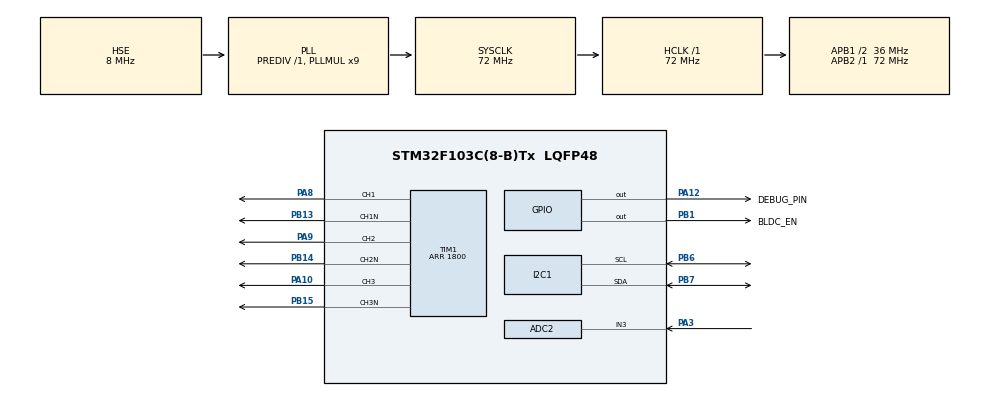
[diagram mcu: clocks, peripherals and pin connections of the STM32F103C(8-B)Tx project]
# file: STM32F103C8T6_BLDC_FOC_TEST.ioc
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ADC1.Channel-7\#ChannelInjectedConversion=ADC_CHANNEL_3
ADC1.EnableInjectedConversion=ENABLE
ADC1.EnableRegularConversion=DISABLE
ADC1.ExternalTrigInjecConv=ADC_EXTERNALTRIGINJECCONV_T1_CC4
ADC1.InjNumberOfConversion=1
ADC1.InjectedOffset-7\#ChannelInjectedConversion=0
ADC1.InjectedRank-7\#ChannelInjectedConversion=1
ADC1.Mode=ADC_DUALMODE_INJECSIMULT
ADC1.SamplingTime-7\#ChannelInjectedConversion=ADC_SAMPLETIME_13CYCLES_5
ADC1.master=1
ADC2.Channel-1\#ChannelInjectedConversion=ADC_CHANNEL_3
ADC2.EnableInjectedConversion=ENABLE
ADC2.EnableRegularConversion=DISABLE
ADC2.InjNumberOfConversion=1
ADC2.InjectedOffset-1\#ChannelInjectedConversion=0
ADC2.InjectedRank-1\#ChannelInjectedConversion=1
ADC2.Mode=ADC_DUALMODE_INJECSIMULT
ADC2.SamplingTime-1\#ChannelInjectedConversion=ADC_SAMPLETIME_13CYCLES_5
I2C1.I2C_Mode=I2C_Fast
Mcu.Family=STM32F1
Mcu.Name=STM32F103C(8-B)Tx
Mcu.Package=LQFP48
NVIC.ADC1_2_IRQn=true\:0\:0\:false\:false\:true\:true\:true\:true
NVIC.PriorityGroup=NVIC_PRIORITYGROUP_4
NVIC.TIM4_IRQn=true\:15\:0\:false\:false\:true\:false\:true\:true
NVIC.TimeBase=TIM4_IRQn
NVIC.TimeBaseIP=TIM4
PA10.Signal=S_TIM1_CH3
PA12.GPIO_Label=DEBUG_PIN
PA12.Signal=GPIO_Output
PA3.Signal=ADCx_IN3
PA8.Signal=S_TIM1_CH1
PA9.Signal=S_TIM1_CH2
PB1.GPIO_Label=BLDC_EN
PB1.Signal=GPIO_Output
PB13.Mode=PWM Generation1 CH1 CH1N
PB13.Signal=TIM1_CH1N
PB14.Mode=PWM Generation2 CH2 CH2N
PB14.Signal=TIM1_CH2N
PB15.Mode=PWM Generation3 CH3 CH3N
PB15.Signal=TIM1_CH3N
PB6.Mode=I2C
PB6.Signal=I2C1_SCL
PB7.Mode=I2C
PB7.Signal=I2C1_SDA
PD0-OSC_IN.Mode=HSE-External-Oscillator
PD0-OSC_IN.Signal=RCC_OSC_IN
PD1-OSC_OUT.Mode=HSE-External-Oscillator
PD1-OSC_OUT.Signal=RCC_OSC_OUT
ProjectManager.HeapSize=0x200
ProjectManager.StackSize=0x400
ProjectManager.TargetToolchain=STM32CubeIDE
RCC.ADCPresc=RCC_ADCPCLK2_DIV6
RCC.AHBFreq_Value=72000000
RCC.APB1CLKDivider=RCC_HCLK_DIV2
RCC.APB1Freq_Value=36000000
RCC.APB1TimFreq_Value=72000000
RCC.APB2Freq_Value=72000000
RCC.APB2TimFreq_Value=72000000
RCC.HCLKFreq_Value=72000000
RCC.PLLMUL=RCC_PLL_MUL9
RCC.PLLSourceVirtual=RCC_PLLSOURCE_HSE
RCC.SYSCLKFreq_VALUE=72000000
RCC.SYSCLKSource=RCC_SYSCLKSOURCE_PLLCLK
RCC.USBFreq_Value=72000000
SH.ADCx_IN3.0=ADC2_IN3,IN3
SH.ADCx_IN3.1=ADC1_IN3,IN3
SH.S_TIM1_CH1.0=TIM1_CH1,PWM Generation1 CH1 CH1N
SH.S_TIM1_CH2.0=TIM1_CH2,PWM Generation2 CH2 CH2N
SH.S_TIM1_CH3.0=TIM1_CH3,PWM Generation3 CH3 CH3N
TIM1.AutoReloadPreload=TIM_AUTORELOAD_PRELOAD_ENABLE
TIM1.BreakState=TIM_BREAK_DISABLE
TIM1.Channel-PWM\ Generation1\ CH1\ CH1N=TIM_CHANNEL_1
TIM1.Channel-PWM\ Generation2\ CH2\ CH2N=TIM_CHANNEL_2
TIM1.Channel-PWM\ Generation3\ CH3\ CH3N=TIM_CHANNEL_3
TIM1.Channel-PWM\ Generation4\ No\ Output=TIM_CHANNEL_4
TIM1.CounterMode=TIM_COUNTERMODE_CENTERALIGNED2
TIM1.DeadTime=40
TIM1.Period=1800
TIM1.TIM_MasterOutputTrigger=TIM_TRGO_UPDATE
VP_SYS_VS_ND.Mode=No_Debug
VP_SYS_VS_tim4.Mode=TIM4
VP_TIM1_VS_no_output4.Mode=PWM Generation4 No Output
board=custom

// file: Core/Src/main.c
/* USER CODE BEGIN Header */
/**
  ******************************************************************************
  * @file           : main.c
  * @brief          : Main program body
  ******************************************************************************
  * @attention
  *
  * Copyright (c) 2026 STMicroelectronics.
  * All rights reserved.
  *
  * This software is licensed under terms that can be found in the LICENSE file
  * in the root directory of this software component.
  * If no LICENSE file comes with this software, it is provided AS-IS.
  *
  ******************************************************************************
  */
/* USER CODE END Header */
#include "main.h"

ADC_HandleTypeDef hadc1;
ADC_HandleTypeDef hadc2;

I2C_HandleTypeDef hi2c1;

TIM_HandleTypeDef htim1;

void SystemClock_Config(void);
static void MX_GPIO_Init(void);
static void MX_ADC1_Init(void);
static void MX_I2C1_Init(void);
static void MX_TIM1_Init(void);
static void MX_ADC2_Init(void);

int main(void)
{

  /* MCU Configuration--------------------------------------------------------*/

  /* Reset of all peripherals, Initializes the Flash interface and the Systick. */
  HAL_Init();

  /* Configure the system clock */
  SystemClock_Config();

  /* Initialize all configured peripherals */
  MX_GPIO_Init();
  MX_ADC1_Init();
  MX_I2C1_Init();
  MX_TIM1_Init();
  MX_ADC2_Init();

  /* Infinite loop */
  /* USER CODE BEGIN WHILE */
  	HAL_GPIO_WritePin(DEBUG_PIN_GPIO_Port, DEBUG_PIN_Pin, GPIO_PIN_SET);

  	__HAL_TIM_SET_COMPARE(&htim1, TIM_CHANNEL_4, 900);

	HAL_TIM_PWM_Start(&htim1,TIM_CHANNEL_1);
	HAL_TIM_PWM_Start(&htim1,TIM_CHANNEL_2);
  	HAL_TIM_PWM_Start(&htim1,TIM_CHANNEL_3);
  	HAL_TIM_PWM_Start(&htim1,TIM_CHANNEL_4);

  	__HAL_TIM_MOE_ENABLE(&htim1);

  	HAL_ADCEx_InjectedStart_IT(&hadc1);
  	/* Infinite loop */

	while (1)
	{
		__HAL_TIM_SET_COMPARE(&htim1, TIM_CHANNEL_2, 220);
		__HAL_TIM_SET_COMPARE(&htim1, TIM_CHANNEL_3, 880);
		//__HAL_TIM_SET_COMPARE(&htim1, TIM_CHANNEL_4, 1700);

		HAL_Delay(10);
    /* USER CODE END WHILE */

	}
}

void SystemClock_Config(void)
{
  RCC_OscInitTypeDef RCC_OscInitStruct = {0};
  RCC_ClkInitTypeDef RCC_ClkInitStruct = {0};
  RCC_PeriphCLKInitTypeDef PeriphClkInit = {0};

  /** Initializes the RCC Oscillators according to the specified parameters
  * in the RCC_OscInitTypeDef structure.
  */
  RCC_OscInitStruct.OscillatorType = RCC_OSCILLATORTYPE_HSE;
  RCC_OscInitStruct.HSEState = RCC_HSE_ON;
  RCC_OscInitStruct.HSEPredivValue = RCC_HSE_PREDIV_DIV1;
  RCC_OscInitStruct.HSIState = RCC_HSI_ON;
  RCC_OscInitStruct.PLL.PLLState = RCC_PLL_ON;
  RCC_OscInitStruct.PLL.PLLSource = RCC_PLLSOURCE_HSE;
  RCC_OscInitStruct.PLL.PLLMUL = RCC_PLL_MUL9;
  if (HAL_RCC_OscConfig(&RCC_OscInitStruct) != HAL_OK)
  {
    Error_Handler();
  }

  /** Initializes the CPU, AHB and APB buses clocks
  */
  RCC_ClkInitStruct.ClockType = RCC_CLOCKTYPE_HCLK|RCC_CLOCKTYPE_SYSCLK
                              |RCC_CLOCKTYPE_PCLK1|RCC_CLOCKTYPE_PCLK2;
  RCC_ClkInitStruct.SYSCLKSource = RCC_SYSCLKSOURCE_PLLCLK;
  RCC_ClkInitStruct.AHBCLKDivider = RCC_SYSCLK_DIV1;
  RCC_ClkInitStruct.APB1CLKDivider = RCC_HCLK_DIV2;
  RCC_ClkInitStruct.APB2CLKDivider = RCC_HCLK_DIV1;

  if (HAL_RCC_ClockConfig(&RCC_ClkInitStruct, FLASH_LATENCY_2) != HAL_OK)
  {
    Error_Handler();
  }
  PeriphClkInit.PeriphClockSelection = RCC_PERIPHCLK_ADC;
  PeriphClkInit.AdcClockSelection = RCC_ADCPCLK2_DIV6;
  if (HAL_RCCEx_PeriphCLKConfig(&PeriphClkInit) != HAL_OK)
  {
    Error_Handler();
  }
}

static void MX_ADC1_Init(void)
{

  ADC_MultiModeTypeDef multimode = {0};
  ADC_InjectionConfTypeDef sConfigInjected = {0};

  /** Common config
  */
  hadc1.Instance = ADC1;
  hadc1.Init.ScanConvMode = ADC_SCAN_DISABLE;
  hadc1.Init.ContinuousConvMode = DISABLE;
  hadc1.Init.DiscontinuousConvMode = DISABLE;
  hadc1.Init.ExternalTrigConv = ADC_SOFTWARE_START;
  hadc1.Init.DataAlign = ADC_DATAALIGN_RIGHT;
  hadc1.Init.NbrOfConversion = 1;
  if (HAL_ADC_Init(&hadc1) != HAL_OK)
  {
    Error_Handler();
  }

  /** Configure the ADC multi-mode
  */
  multimode.Mode = ADC_DUALMODE_INJECSIMULT;
  if (HAL_ADCEx_MultiModeConfigChannel(&hadc1, &multimode) != HAL_OK)
  {
    Error_Handler();
  }

  /** Configure Injected Channel
  */
  sConfigInjected.InjectedChannel = ADC_CHANNEL_3;
  sConfigInjected.InjectedRank = ADC_INJECTED_RANK_1;
  sConfigInjected.InjectedNbrOfConversion = 1;
  sConfigInjected.InjectedSamplingTime = ADC_SAMPLETIME_13CYCLES_5;
  sConfigInjected.ExternalTrigInjecConv = ADC_EXTERNALTRIGINJECCONV_T1_CC4;
  sConfigInjected.AutoInjectedConv = DISABLE;
  sConfigInjected.InjectedDiscontinuousConvMode = DISABLE;
  sConfigInjected.InjectedOffset = 0;
  if (HAL_ADCEx_InjectedConfigChannel(&hadc1, &sConfigInjected) != HAL_OK)
  {
    Error_Handler();
  }

}

static void MX_ADC2_Init(void)
{

  ADC_InjectionConfTypeDef sConfigInjected = {0};

  /** Common config
  */
  hadc2.Instance = ADC2;
  hadc2.Init.ScanConvMode = ADC_SCAN_DISABLE;
  hadc2.Init.ContinuousConvMode = DISABLE;
  hadc2.Init.DiscontinuousConvMode = DISABLE;
  hadc2.Init.ExternalTrigConv = ADC_SOFTWARE_START;
  hadc2.Init.DataAlign = ADC_DATAALIGN_RIGHT;
  hadc2.Init.NbrOfConversion = 1;
  if (HAL_ADC_Init(&hadc2) != HAL_OK)
  {
    Error_Handler();
  }

  /** Configure Injected Channel
  */
  sConfigInjected.InjectedChannel = ADC_CHANNEL_3;
  sConfigInjected.InjectedRank = ADC_INJECTED_RANK_1;
  sConfigInjected.InjectedNbrOfConversion = 1;
  sConfigInjected.InjectedSamplingTime = ADC_SAMPLETIME_13CYCLES_5;
  sConfigInjected.AutoInjectedConv = DISABLE;
  sConfigInjected.InjectedDiscontinuousConvMode = DISABLE;
  sConfigInjected.InjectedOffset = 0;
  if (HAL_ADCEx_InjectedConfigChannel(&hadc2, &sConfigInjected) != HAL_OK)
  {
    Error_Handler();
  }

}

static void MX_I2C1_Init(void)
{

  hi2c1.Instance = I2C1;
  hi2c1.Init.ClockSpeed = 400000;
  hi2c1.Init.DutyCycle = I2C_DUTYCYCLE_2;
  hi2c1.Init.OwnAddress1 = 0;
  hi2c1.Init.AddressingMode = I2C_ADDRESSINGMODE_7BIT;
  hi2c1.Init.DualAddressMode = I2C_DUALADDRESS_DISABLE;
  hi2c1.Init.OwnAddress2 = 0;
  hi2c1.Init.GeneralCallMode = I2C_GENERALCALL_DISABLE;
  hi2c1.Init.NoStretchMode = I2C_NOSTRETCH_DISABLE;
  if (HAL_I2C_Init(&hi2c1) != HAL_OK)
  {
    Error_Handler();
  }

}

static void MX_TIM1_Init(void)
{

  TIM_MasterConfigTypeDef sMasterConfig = {0};
  TIM_OC_InitTypeDef sConfigOC = {0};
  TIM_BreakDeadTimeConfigTypeDef sBreakDeadTimeConfig = {0};

  htim1.Instance = TIM1;
  htim1.Init.Prescaler = 0;
  htim1.Init.CounterMode = TIM_COUNTERMODE_CENTERALIGNED2;
  htim1.Init.Period = 1800;
  htim1.Init.ClockDivision = TIM_CLOCKDIVISION_DIV1;
  htim1.Init.RepetitionCounter = 0;
  htim1.Init.AutoReloadPreload = TIM_AUTORELOAD_PRELOAD_ENABLE;
  if (HAL_TIM_PWM_Init(&htim1) != HAL_OK)
  {
    Error_Handler();
  }
  sMasterConfig.MasterOutputTrigger = TIM_TRGO_UPDATE;
  sMasterConfig.MasterSlaveMode = TIM_MASTERSLAVEMODE_DISABLE;
  if (HAL_TIMEx_MasterConfigSynchronization(&htim1, &sMasterConfig) != HAL_OK)
  {
    Error_Handler();
  }
  sConfigOC.OCMode = TIM_OCMODE_PWM1;
  sConfigOC.Pulse = 0;
  sConfigOC.OCPolarity = TIM_OCPOLARITY_HIGH;
  sConfigOC.OCNPolarity = TIM_OCNPOLARITY_HIGH;
  sConfigOC.OCFastMode = TIM_OCFAST_DISABLE;
  sConfigOC.OCIdleState = TIM_OCIDLESTATE_RESET;
  sConfigOC.OCNIdleState = TIM_OCNIDLESTATE_RESET;
  if (HAL_TIM_PWM_ConfigChannel(&htim1, &sConfigOC, TIM_CHANNEL_1) != HAL_OK)
  {
    Error_Handler();
  }
  if (HAL_TIM_PWM_ConfigChannel(&htim1, &sConfigOC, TIM_CHANNEL_2) != HAL_OK)
  {
    Error_Handler();
  }
  if (HAL_TIM_PWM_ConfigChannel(&htim1, &sConfigOC, TIM_CHANNEL_3) != HAL_OK)
  {
    Error_Handler();
  }
  if (HAL_TIM_PWM_ConfigChannel(&htim1, &sConfigOC, TIM_CHANNEL_4) != HAL_OK)
  {
    Error_Handler();
  }
  sBreakDeadTimeConfig.OffStateRunMode = TIM_OSSR_DISABLE;
  sBreakDeadTimeConfig.OffStateIDLEMode = TIM_OSSI_DISABLE;
  sBreakDeadTimeConfig.LockLevel = TIM_LOCKLEVEL_OFF;
  sBreakDeadTimeConfig.DeadTime = 40;
  sBreakDeadTimeConfig.BreakState = TIM_BREAK_DISABLE;
  sBreakDeadTimeConfig.BreakPolarity = TIM_BREAKPOLARITY_HIGH;
  sBreakDeadTimeConfig.AutomaticOutput = TIM_AUTOMATICOUTPUT_DISABLE;
  if (HAL_TIMEx_ConfigBreakDeadTime(&htim1, &sBreakDeadTimeConfig) != HAL_OK)
  {
    Error_Handler();
  }
  HAL_TIM_MspPostInit(&htim1);

}

static void MX_GPIO_Init(void)
{
  GPIO_InitTypeDef GPIO_InitStruct = {0};

  /* GPIO Ports Clock Enable */
  __HAL_RCC_GPIOD_CLK_ENABLE();
  __HAL_RCC_GPIOA_CLK_ENABLE();
  __HAL_RCC_GPIOB_CLK_ENABLE();

  /*Configure GPIO pin Output Level */
  HAL_GPIO_WritePin(BLDC_EN_GPIO_Port, BLDC_EN_Pin, GPIO_PIN_RESET);

  /*Configure GPIO pin Output Level */
  HAL_GPIO_WritePin(DEBUG_PIN_GPIO_Port, DEBUG_PIN_Pin, GPIO_PIN_RESET);

  /*Configure GPIO pin : BLDC_EN_Pin */
  GPIO_InitStruct.Pin = BLDC_EN_Pin;
  GPIO_InitStruct.Mode = GPIO_MODE_OUTPUT_PP;
  GPIO_InitStruct.Pull = GPIO_NOPULL;
  GPIO_InitStruct.Speed = GPIO_SPEED_FREQ_LOW;
  HAL_GPIO_Init(BLDC_EN_GPIO_Port, &GPIO_InitStruct);

  /*Configure GPIO pin : DEBUG_PIN_Pin */
  GPIO_InitStruct.Pin = DEBUG_PIN_Pin;
  GPIO_InitStruct.Mode = GPIO_MODE_OUTPUT_PP;
  GPIO_InitStruct.Pull = GPIO_NOPULL;
  GPIO_InitStruct.Speed = GPIO_SPEED_FREQ_LOW;
  HAL_GPIO_Init(DEBUG_PIN_GPIO_Port, &GPIO_InitStruct);

}

/* USER CODE BEGIN 4 */
void HAL_ADCEx_InjectedConvCpltCallback(ADC_HandleTypeDef *hadc)
{
	if(hadc->Instance == ADC1)
	{
		HAL_GPIO_WritePin(DEBUG_PIN_GPIO_Port, DEBUG_PIN_Pin, GPIO_PIN_RESET);
		//HAL_Delay(1);
		for(volatile int i = 0; i < 50000; i++);
		HAL_GPIO_WritePin(DEBUG_PIN_GPIO_Port, DEBUG_PIN_Pin, GPIO_PIN_SET);
		//HAL_GPIO_TogglePin(DEBUG_PIN_GPIO_Port, DEBUG_PIN_Pin);
	}
}
/* USER CODE END 4 */

void HAL_TIM_PeriodElapsedCallback(TIM_HandleTypeDef *htim)
{
  if (htim->Instance == TIM4)
  {
    HAL_IncTick();
  }
}

void Error_Handler(void)
{
  __disable_irq();
  while (1)
  {
  }
}
